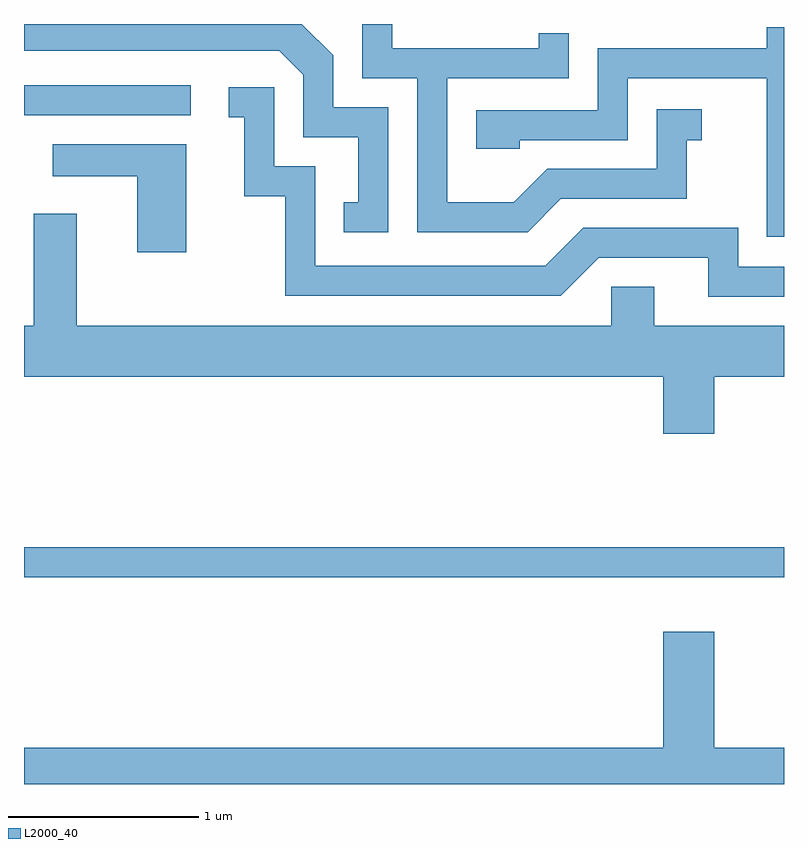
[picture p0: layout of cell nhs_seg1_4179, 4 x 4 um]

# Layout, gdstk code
import gdstk
lib = gdstk.Library(unit=1e-6, precision=1e-09)
def R(c, l, rs):  # rectangles x0, y0, x1, y1
    for r in rs: c.add(gdstk.rectangle(r[:2], r[2:], *l))
def P(c, l, *ps):  # polygons
    for p in ps: c.add(gdstk.Polygon(p, *l))
L2000_40 = (2000, 40)

nhs_seg1_4179 = lib.new_cell('nhs_seg1_4179')
R(nhs_seg1_4179, L2000_40, [(311.611,840.801,315.611,840.959), (311.611,843.231,312.488,843.389)])
P(nhs_seg1_4179, L2000_40, [(313.529,843.274),(313.239,843.274),(313.239,843.547),(313.074,843.712),(311.611,843.712),(311.611,843.571),(312.954,843.571),(313.081,843.444),(313.081,843.116),(313.371,843.116),(313.371,842.774),(313.293,842.774),(313.293,842.616),(313.529,842.616)],
  [(314.437,842.791),(315.099,842.791),(315.099,843.101),(315.178,843.101),(315.178,843.264),(314.941,843.264),(314.941,842.949),(314.364,842.949),(314.189,842.774),(313.839,842.774),(313.839,843.426),(314.479,843.426),(314.479,843.663),(314.321,843.663),(314.321,843.584),(313.549,843.584),(313.549,843.712),(313.391,843.712),(313.391,843.426),(313.681,843.426),(313.681,842.616),(314.262,842.616)],
  [(315.611,843.694),(315.521,843.694),(315.521,843.584),(314.631,843.584),(314.631,843.259),(313.991,843.259),(313.991,843.056),(314.219,843.056),(314.219,843.101),(314.789,843.101),(314.789,843.426),(315.521,843.426),(315.521,842.591),(315.611,842.591)],
  [(315.611,842.434),(315.369,842.434),(315.369,842.639),(314.554,842.639),(314.354,842.439),(313.144,842.439),(313.144,842.964),(312.929,842.964),(312.929,843.379),(312.688,843.379),(312.688,843.221),(312.771,843.221),(312.771,842.806),(312.986,842.806),(312.986,842.281),(314.437,842.281),(314.637,842.481),(315.211,842.481),(315.211,842.276),(315.611,842.276)],
  [(312.464,843.079),(311.763,843.079),(311.763,842.911),(312.206,842.911),(312.206,842.511),(312.464,842.511)],
  [(315.244,841.856),(315.611,841.856),(315.611,842.124),(314.929,842.124),(314.929,842.329),(314.701,842.329),(314.701,842.124),(311.889,842.124),(311.889,842.714),(311.661,842.714),(311.661,842.124),(311.611,842.124),(311.611,841.856),(314.976,841.856),(314.976,841.556),(315.244,841.556)],
  [(315.611,839.904),(315.244,839.904),(315.244,840.514),(314.976,840.514),(314.976,839.904),(311.611,839.904),(311.611,839.712),(315.611,839.712)])

lib.write_gds('nhs_seg1_4179.gds')
